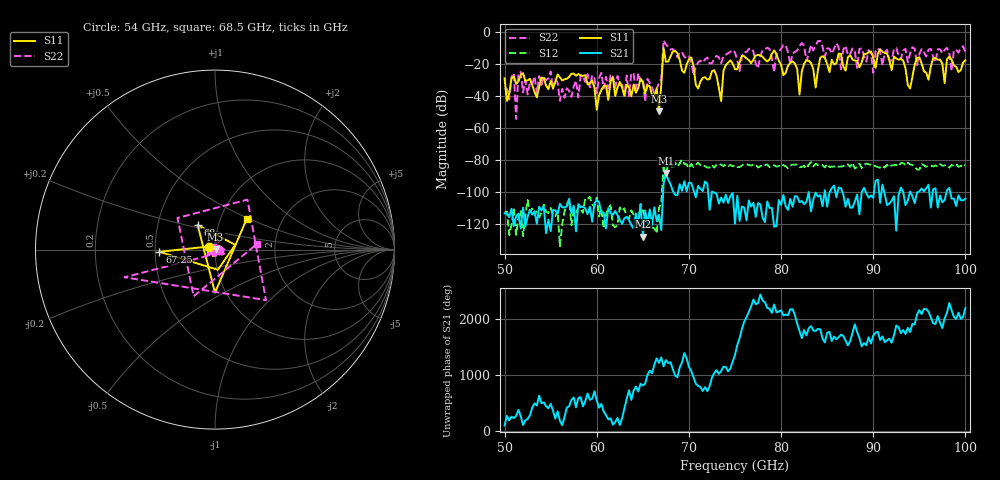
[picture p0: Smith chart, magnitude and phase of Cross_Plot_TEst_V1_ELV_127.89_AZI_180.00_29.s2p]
! 11/25/2026 1:29:04 PM
! C:\ANRITSUVNA\TEMP\TEMP.S2P
! CHANNEL.1
! TR.MEASUREMENT
! RAW.DATA
# HZ S RI R 50.0
! FREQ.HZ  S11RE  S11IM  S21RE  S21IM  S12RE  S12IM  S22RE  S22IM
!; PortSelection: Port_12
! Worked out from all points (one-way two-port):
!   201 points, 50 GHz to 100 GHz, reference 50 ohm
!   highest |S21| = -88.34 dB at 67.5 GHz (marker M1); lowest = -128.0 dB at 65 GHz (marker M2)
!   lowest |S11| = -49.7 dB at 66.75 GHz (marker M3), VSWR 1.01, Z = 50.3 + j0.0729 ohm
!   |S11| at or under -10 dB: start of sweep to end of sweep
!   |S22| runs from -54.6 to -5.6 dB; largest |S21 - S12| = 0.0001
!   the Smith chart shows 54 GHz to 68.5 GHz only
!   S11 on the Smith chart (normalised r, x): 54 GHz: 0.93, +0.03; 67.25 GHz: 0.53, -0.01; 68 GHz: 0.80, +0.22; 68.5 GHz: 1.33, +0.49
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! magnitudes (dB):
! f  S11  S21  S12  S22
! 50 GHz  -29.2  -113.5  -113.0  -35.6
! 51 GHz  -27.9  -121.4  -110.9  -26.0
! 51.25 GHz  -32.6  -115.4  -127.0  -54.6
! 51.5 GHz  -31.2  -113.7  -116.0  -25.7
! 54 GHz  -28.7  -111.6  -113.2  -33.2
! 58.5 GHz  -27.7  -109.4  -113.2  -27.6
! 60 GHz  -48.8  -105.2  -103.6  -38.5
! 65 GHz  -31.2  -128.0  -111.6  -30.1
! 66.75 GHz  -49.7  -114.4  -110.2  -31.9
! 67.25 GHz  -10.2  -95.0  -84.7  -5.6
! 67.5 GHz  -18.9  -88.3  -91.1  -8.0
! 68 GHz  -15.5  -95.3  -82.0  -11.3
! 68.5 GHz  -12.1  -101.9  -81.9  -12.6
! 73.5 GHz  -43.4  -103.6  -83.0  -19.7
! 75 GHz  -23.5  -120.0  -83.6  -13.0
! 79.25 GHz  -11.8  -121.9  -83.5  -25.3
! 82 GHz  -39.3  -106.5  -84.7  -9.2
! 83.5 GHz  -23.5  -104.8  -84.1  -11.8
! 91.75 GHz  -18.1  -107.3  -84.5  -17.6
! 94 GHz  -35.6  -99.9  -82.9  -13.7
! 94.75 GHz  -16.5  -100.5  -86.1  -21.0
! 100 GHz  -17.9  -104.3  -83.8  -12.8
